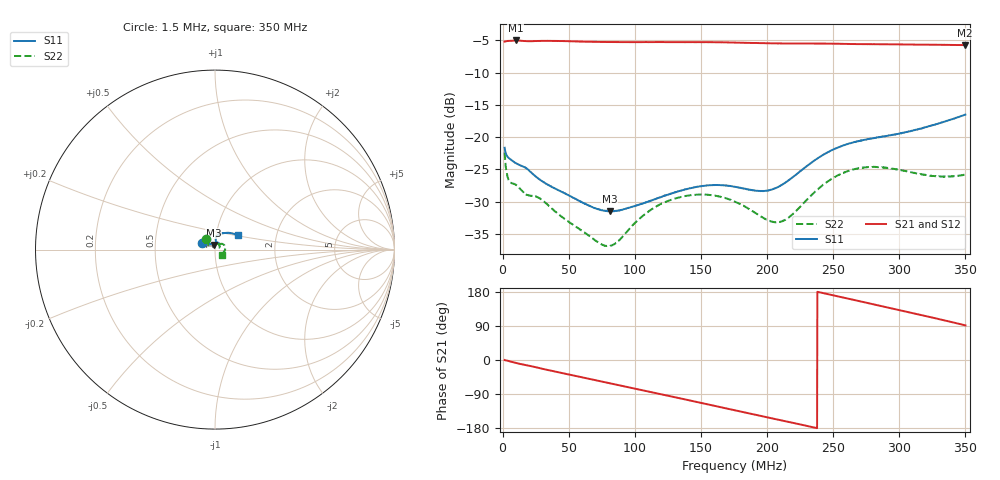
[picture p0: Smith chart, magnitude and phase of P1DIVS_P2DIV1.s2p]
# Hz S RI R 50
! RAW DATA - UNCALIBRATED
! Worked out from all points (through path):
!   1601 points, 1.5 MHz to 350 MHz, reference 50 ohm
!   highest |S21| = -5.00 dB at 9.777 MHz (marker M1); lowest = -5.7 dB at 349.8 MHz (marker M2)
!   group delay of S21, straight-line fit = 2.12 ns
!   lowest |S11| = -31.5 dB at 81 MHz (marker M3), VSWR 1.05, Z = 49.2 + j2.51 ohm
!   |S11| at or under -10 dB: start of sweep to end of sweep
!   |S22| runs from -36.9 to -22.4 dB; largest |S21 - S12| = 0.027
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1500000  -0.0728 0.0395  0.5508 -0.00122  0.5511 -0.00934  -0.0495 0.0575
4767188  -0.0648 0.023  0.5575 -0.0303  0.5565 -0.0334  -0.0381 0.0261
9776875  -0.0578 0.0253  0.5576 -0.0735  0.5493 -0.0712  -0.0346 0.0255
1.783594e7  -0.0481 0.0317  0.5397 -0.1313  0.5404 -0.1303  -0.024 0.0268
2.872656e7  -0.0332 0.0324  0.5167 -0.2094  0.51 -0.2062  -0.0136 0.0303
3.896375e7  -0.0255 0.0312  0.4835 -0.278  0.4827 -0.2706  -0.00481 0.0266
5.965594e7  -0.0133 0.0284  0.3871 -0.3922  0.3893 -0.3894  7.34e-05 0.0189
7.403156e7  -0.00875 0.0259  0.3047 -0.4553  0.3058 -0.4514  -0.00096 0.0149
8.100156e7  -0.00766 0.0255  0.2612 -0.4802  0.2633 -0.4746  -0.00302 0.014
1.178119e8  0.00182 0.0337  0.00916 -0.5464  0.0182 -0.5411  -0.00371 0.0295
1.474344e8  0.0148 0.0385  -0.1961 -0.5094  -0.1835 -0.5104  0.0166 0.0317
1.7575e8  0.0212 0.0354  -0.368 -0.3967  -0.3568 -0.4055  0.0268 0.0169
1.955709e8  0.0155 0.035  -0.4546 -0.2851  -0.445 -0.2963  0.0217 0.0107
2.084219e8  0.009 0.0402  -0.4927 -0.2036  -0.486 -0.2179  0.0174 0.0133
2.173522e8  0.00539 0.0469  -0.5132 -0.1446  -0.507 -0.1608  0.0165 0.0179
2.339059e8  0.00452 0.0638  -0.532 -0.0294  -0.5309 -0.0468  0.022 0.0283
2.474103e8  0.011 0.0771  -0.5271 0.0677  -0.5302 0.0508  0.033 0.0327
2.617859e8  0.0226 0.0862  -0.5012 0.1672  -0.5068 0.152  0.0462 0.0295
2.920619e8  0.0473 0.0916  -0.39 0.3508  -0.4019 0.3341  0.0574 0.00524
3.225556e8  0.0783 0.0931  -0.2118 0.4763  -0.232 0.4674  0.0484 -0.0146
3.497822e8  0.1266 0.0793  -0.0144 0.517  -0.0397 0.5185  0.0411 -0.0306
3.5e8  0.1271 0.0791  -0.0124 0.5175  -0.0381 0.519  0.041 -0.0309
